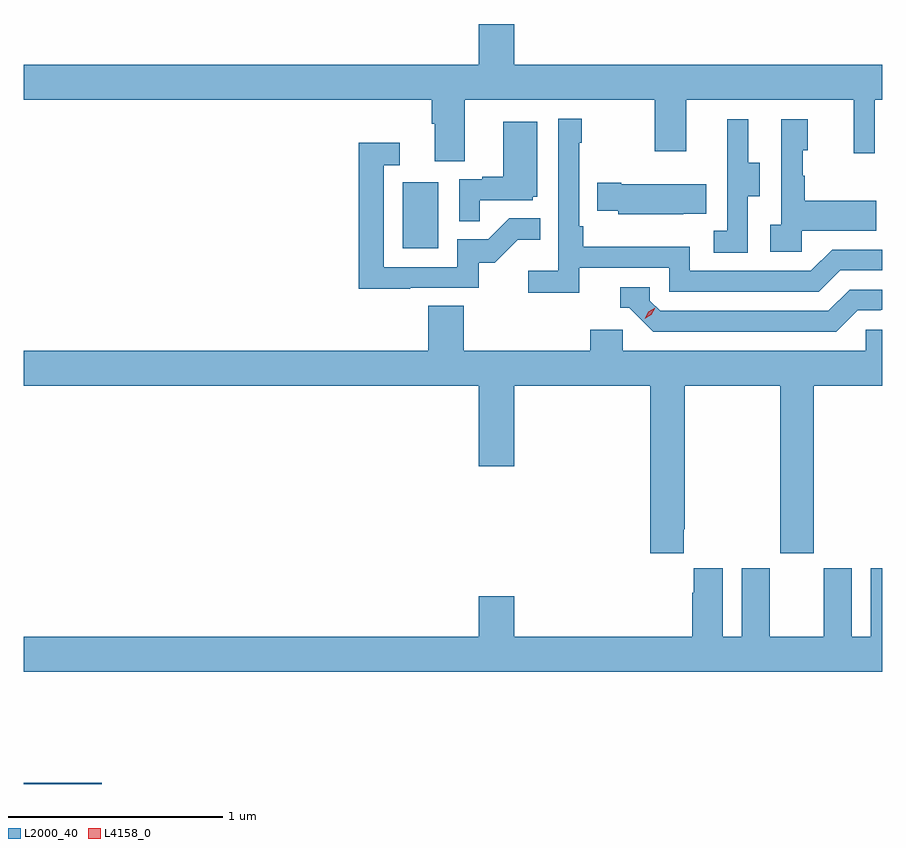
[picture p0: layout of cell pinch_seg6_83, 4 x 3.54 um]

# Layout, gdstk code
import gdstk
lib = gdstk.Library(unit=1e-6, precision=1e-09)
def R(c, l, rs):  # rectangles x0, y0, x1, y1
    for r in rs: c.add(gdstk.rectangle(r[:2], r[2:], *l))
def P(c, l, *ps):  # polygons
    for p in ps: c.add(gdstk.Polygon(p, *l))
L2000_40 = (2000, 40)
L4158_0 = (4158, 0)

pinch_seg6_83 = lib.new_cell('pinch_seg6_83')
R(pinch_seg6_83, L2000_40, [(918.131,925.502,918.496,925.508), (919.898,927.996,920.062,928.303)])
P(pinch_seg6_83, L2000_40, [(920.185,928.688),(921.07,928.688),(921.07,928.449),(921.217,928.449),(921.217,928.688),(921.998,928.688),(921.998,928.44),(922.095,928.44),(922.095,928.688),(922.131,928.688),(922.131,928.852),(920.416,928.852),(920.416,929.041),(920.252,929.041),(920.252,928.852),(918.131,928.852),(918.131,928.688),(920.033,928.688),(920.033,928.576),(920.045,928.576),(920.045,928.402),(920.185,928.402)],
  [(920.72,927.906),(921.138,927.906),(921.138,927.795),(921.835,927.795),(921.934,927.894),(922.131,927.894),(922.131,927.99),(921.897,927.99),(921.798,927.891),(921.234,927.891),(921.234,928.003),(920.738,928.003),(920.738,928.099),(920.718,928.099),(920.718,928.487),(920.731,928.487),(920.731,928.6),(920.622,928.6),(920.622,927.892),(920.481,927.892),(920.481,927.79),(920.72,927.79)],
  [(921.504,928.24),(921.559,928.24),(921.559,928.395),(921.505,928.395),(921.505,928.597),(921.407,928.597),(921.407,928.383),(921.408,928.383),(921.408,928.079),(921.345,928.079),(921.345,927.976),(921.504,927.976)],
  [(921.756,928.079),(922.103,928.079),(922.103,928.219),(921.769,928.219),(921.769,928.334),(921.759,928.334),(921.759,928.452),(921.784,928.452),(921.784,928.597),(921.66,928.597),(921.66,928.106),(921.609,928.106),(921.609,927.981),(921.756,927.981)],
  [(920.255,928.221),(920.502,928.221),(920.502,928.236),(920.524,928.236),(920.524,928.585),(920.366,928.585),(920.366,928.33),(920.267,928.33),(920.267,928.317),(920.16,928.317),(920.16,928.123),(920.255,928.123)],
  [(919.931,927.813),(920.25,927.813),(920.25,927.93),(920.326,927.93),(920.433,928.037),(920.537,928.037),(920.537,928.136),(920.393,928.136),(920.295,928.038),(920.151,928.038),(920.151,927.909),(919.809,927.909),(919.809,928.383),(919.882,928.383),(919.882,928.489),(919.693,928.489),(919.693,927.808),(919.931,927.808)],
  [(921.203,928.157),(921.311,928.157),(921.311,928.294),(920.914,928.294),(920.914,928.302),(920.803,928.302),(920.803,928.172),(920.901,928.172),(920.901,928.154),(921.203,928.154)],
  [(922.015,927.708),(922.122,927.708),(922.122,927.711),(922.131,927.711),(922.131,927.804),(921.978,927.804),(921.879,927.705),(921.096,927.705),(921.048,927.753),(921.048,927.816),(920.909,927.816),(920.909,927.72),(920.952,927.72),(921.063,927.609),(921.916,927.609)],
  [(920.922,927.618),(920.771,927.618),(920.771,927.52),(920.18,927.52),(920.18,927.728),(920.015,927.728),(920.015,927.52),(918.131,927.52),(918.131,927.356),(920.252,927.356),(920.252,926.982),(920.416,926.982),(920.416,927.356),(921.05,927.356),(921.05,926.577),(921.205,926.577),(921.205,926.689),(921.21,926.689),(921.21,927.356),(921.655,927.356),(921.655,926.577),(921.81,926.577),(921.81,927.356),(922.131,927.356),(922.131,927.618),(922.053,927.618),(922.053,927.52),(920.922,927.52)],
  [(922.131,926.506),(922.076,926.506),(922.076,926.188),(921.988,926.188),(921.988,926.506),(921.857,926.506),(921.857,926.188),(921.607,926.188),(921.607,926.506),(921.476,926.506),(921.476,926.188),(921.388,926.188),(921.388,926.506),(921.251,926.506),(921.251,926.393),(921.245,926.393),(921.245,926.188),(920.416,926.188),(920.416,926.377),(920.252,926.377),(920.252,926.188),(918.131,926.188),(918.131,926.024),(922.131,926.024)])
P(pinch_seg6_83, L4158_0, [(921.024,927.668),(921.024,927.668),(921.041,927.7),(921.072,927.719),(921.072,927.719),(921.072,927.719),(921.055,927.686),(921.024,927.668)])

lib.write_gds('pinch_seg6_83.gds')
